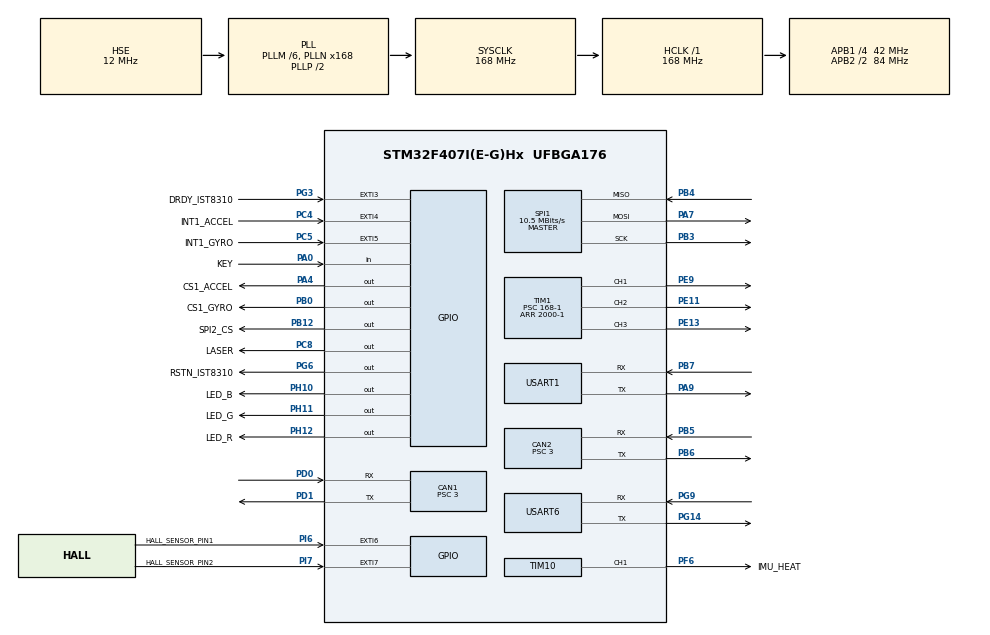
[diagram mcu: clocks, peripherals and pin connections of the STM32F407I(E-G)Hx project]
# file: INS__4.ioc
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CAN1.BS1=CAN_BS1_10TQ
CAN1.BS2=CAN_BS2_3TQ
CAN1.CalculateBaudRate=1000000
CAN1.CalculateTimeBit=1000
CAN1.CalculateTimeQuantum=71.42857142857143
CAN1.Prescaler=3
CAN2.BS1=CAN_BS1_10TQ
CAN2.BS2=CAN_BS2_3TQ
CAN2.CalculateBaudRate=1000000
CAN2.CalculateTimeBit=1000
CAN2.CalculateTimeQuantum=71.42857142857143
CAN2.Prescaler=3
Dma.Request0=SPI1_RX
Dma.Request1=SPI1_TX
Dma.Request2=USART6_RX
Dma.Request3=USART6_TX
Dma.Request4=USART1_TX
Dma.Request5=USART1_RX
Dma.SPI1_RX.0.Direction=DMA_PERIPH_TO_MEMORY
Dma.SPI1_RX.0.FIFOMode=DMA_FIFOMODE_DISABLE
Dma.SPI1_RX.0.Instance=DMA2_Stream2
Dma.SPI1_RX.0.MemDataAlignment=DMA_MDATAALIGN_BYTE
Dma.SPI1_RX.0.MemInc=DMA_MINC_ENABLE
Dma.SPI1_RX.0.Mode=DMA_NORMAL
Dma.SPI1_RX.0.PeriphDataAlignment=DMA_PDATAALIGN_BYTE
Dma.SPI1_RX.0.PeriphInc=DMA_PINC_DISABLE
Dma.SPI1_RX.0.Priority=DMA_PRIORITY_VERY_HIGH
Dma.SPI1_TX.1.Direction=DMA_MEMORY_TO_PERIPH
Dma.SPI1_TX.1.FIFOMode=DMA_FIFOMODE_DISABLE
Dma.SPI1_TX.1.Instance=DMA2_Stream3
Dma.SPI1_TX.1.MemDataAlignment=DMA_MDATAALIGN_BYTE
Dma.SPI1_TX.1.MemInc=DMA_MINC_ENABLE
Dma.SPI1_TX.1.Mode=DMA_NORMAL
Dma.SPI1_TX.1.PeriphDataAlignment=DMA_PDATAALIGN_BYTE
Dma.SPI1_TX.1.PeriphInc=DMA_PINC_DISABLE
Dma.SPI1_TX.1.Priority=DMA_PRIORITY_HIGH
Dma.USART1_RX.5.Direction=DMA_PERIPH_TO_MEMORY
Dma.USART1_RX.5.FIFOMode=DMA_FIFOMODE_DISABLE
Dma.USART1_RX.5.Instance=DMA2_Stream5
Dma.USART1_RX.5.MemDataAlignment=DMA_MDATAALIGN_BYTE
Dma.USART1_RX.5.MemInc=DMA_MINC_ENABLE
Dma.USART1_RX.5.Mode=DMA_NORMAL
Dma.USART1_RX.5.PeriphDataAlignment=DMA_PDATAALIGN_BYTE
Dma.USART1_RX.5.PeriphInc=DMA_PINC_DISABLE
Dma.USART1_RX.5.Priority=DMA_PRIORITY_LOW
Dma.USART1_TX.4.Direction=DMA_MEMORY_TO_PERIPH
Dma.USART1_TX.4.FIFOMode=DMA_FIFOMODE_DISABLE
Dma.USART1_TX.4.Instance=DMA2_Stream7
Dma.USART1_TX.4.MemDataAlignment=DMA_MDATAALIGN_BYTE
Dma.USART1_TX.4.MemInc=DMA_MINC_ENABLE
Dma.USART1_TX.4.Mode=DMA_NORMAL
Dma.USART1_TX.4.PeriphDataAlignment=DMA_PDATAALIGN_BYTE
Dma.USART1_TX.4.PeriphInc=DMA_PINC_DISABLE
Dma.USART1_TX.4.Priority=DMA_PRIORITY_LOW
Dma.USART6_RX.2.Direction=DMA_PERIPH_TO_MEMORY
Dma.USART6_RX.2.FIFOMode=DMA_FIFOMODE_DISABLE
Dma.USART6_RX.2.Instance=DMA2_Stream1
Dma.USART6_RX.2.MemDataAlignment=DMA_MDATAALIGN_BYTE
Dma.USART6_RX.2.MemInc=DMA_MINC_ENABLE
Dma.USART6_RX.2.Mode=DMA_NORMAL
Dma.USART6_RX.2.PeriphDataAlignment=DMA_PDATAALIGN_BYTE
Dma.USART6_RX.2.PeriphInc=DMA_PINC_DISABLE
Dma.USART6_RX.2.Priority=DMA_PRIORITY_LOW
Dma.USART6_TX.3.Direction=DMA_MEMORY_TO_PERIPH
Dma.USART6_TX.3.FIFOMode=DMA_FIFOMODE_DISABLE
Dma.USART6_TX.3.Instance=DMA2_Stream6
Dma.USART6_TX.3.MemDataAlignment=DMA_MDATAALIGN_BYTE
Dma.USART6_TX.3.MemInc=DMA_MINC_ENABLE
Dma.USART6_TX.3.Mode=DMA_NORMAL
Dma.USART6_TX.3.PeriphDataAlignment=DMA_PDATAALIGN_BYTE
Dma.USART6_TX.3.PeriphInc=DMA_PINC_DISABLE
Dma.USART6_TX.3.Priority=DMA_PRIORITY_LOW
FREERTOS.INCLUDE_eTaskGetState=1
FREERTOS.INCLUDE_pcTaskGetTaskName=1
FREERTOS.INCLUDE_uxTaskGetStackHighWaterMark=1
FREERTOS.INCLUDE_vTaskCleanUpResources=1
FREERTOS.INCLUDE_vTaskDelayUntil=1
FREERTOS.INCLUDE_xEventGroupSetBitFromISR=1
FREERTOS.INCLUDE_xQueueGetMutexHolder=1
FREERTOS.INCLUDE_xSemaphoreGetMutexHolder=1
FREERTOS.INCLUDE_xTaskAbortDelay=1
FREERTOS.INCLUDE_xTaskGetCurrentTaskHandle=1
FREERTOS.INCLUDE_xTaskGetHandle=1
FREERTOS.INCLUDE_xTimerPendFunctionCall=1
FREERTOS.Tasks01=INSTask,0,1024,StartINSTask,Default,NULL,Dynamic,NULL,NULL;classis_task,-3,4096,classis_,As weak,NULL,Dynamic,NULL,NULL;to_gimbal_task,-3,256,to_gimbal,As weak,NULL,Dynamic,NULL,NULL;juc_sys_task,-3,256,juc_sys,As weak,NULL,Dynamic,NULL,NULL
FREERTOS.configTOTAL_HEAP_SIZE=24576
Mcu.Family=STM32F4
Mcu.Name=STM32F407I(E-G)Hx
Mcu.Package=UFBGA176
NVIC.CAN1_RX0_IRQn=true\:5\:0\:false\:false\:true\:true\:true\:true\:true
NVIC.CAN2_RX0_IRQn=true\:5\:0\:false\:false\:true\:true\:true\:true\:true
NVIC.DMA2_Stream1_IRQn=true\:5\:0\:false\:false\:true\:true\:false\:true\:true
NVIC.DMA2_Stream2_IRQn=true\:5\:0\:true\:false\:false\:false\:false\:true\:true
NVIC.DMA2_Stream3_IRQn=true\:5\:0\:true\:false\:false\:false\:false\:true\:true
NVIC.DMA2_Stream5_IRQn=true\:5\:0\:false\:false\:true\:true\:false\:true\:true
NVIC.DMA2_Stream6_IRQn=true\:5\:0\:false\:false\:true\:true\:false\:true\:true
NVIC.DMA2_Stream7_IRQn=true\:5\:0\:false\:false\:true\:true\:false\:true\:true
NVIC.EXTI3_IRQn=true\:5\:0\:true\:false\:true\:false\:true\:true\:true
NVIC.EXTI4_IRQn=true\:5\:0\:true\:false\:true\:false\:true\:true\:true
NVIC.EXTI9_5_IRQn=true\:5\:0\:true\:false\:true\:false\:true\:true\:true
NVIC.PriorityGroup=NVIC_PRIORITYGROUP_4
NVIC.TIM2_IRQn=true\:0\:0\:false\:false\:true\:false\:false\:true\:true
NVIC.TIM8_TRG_COM_TIM14_IRQn=true\:5\:0\:false\:false\:true\:true\:true\:true\:true
NVIC.TimeBase=TIM2_IRQn
NVIC.TimeBaseIP=TIM2
NVIC.USART1_IRQn=true\:5\:0\:false\:false\:true\:true\:true\:true\:true
NVIC.USART6_IRQn=true\:5\:0\:false\:false\:true\:true\:true\:true\:true
PA0-WKUP.GPIO_Label=KEY
PA0-WKUP.GPIO_PuPd=GPIO_PULLUP
PA0-WKUP.Signal=GPIO_Input
PA13.Mode=Serial_Wire
PA13.Signal=SYS_JTMS-SWDIO
PA14.Mode=Serial_Wire
PA14.Signal=SYS_JTCK-SWCLK
PA4.GPIO_Label=CS1_ACCEL
PA4.GPIO_PuPd=GPIO_PULLUP
PA4.GPIO_Speed=GPIO_SPEED_FREQ_HIGH
PA4.PinState=GPIO_PIN_SET
PA4.Signal=GPIO_Output
PA7.GPIO_PuPd=GPIO_PULLUP
PA7.Mode=Full_Duplex_Master
PA7.Signal=SPI1_MOSI
PA9.Mode=Asynchronous
PA9.Signal=USART1_TX
PB0.GPIO_Label=CS1_GYRO
PB0.GPIO_PuPd=GPIO_PULLUP
PB0.GPIO_Speed=GPIO_SPEED_FREQ_HIGH
PB0.PinState=GPIO_PIN_SET
PB0.Signal=GPIO_Output
PB12.GPIO_Label=SPI2_CS
PB12.GPIO_PuPd=GPIO_PULLUP
PB12.GPIO_Speed=GPIO_SPEED_FREQ_MEDIUM
PB12.PinState=GPIO_PIN_SET
PB12.Signal=GPIO_Output
PB3.GPIO_PuPd=GPIO_PULLUP
PB3.Mode=Full_Duplex_Master
PB3.Signal=SPI1_SCK
PB4.GPIO_PuPd=GPIO_PULLUP
PB4.Mode=Full_Duplex_Master
PB4.Signal=SPI1_MISO
PB5.Mode=CAN_Activate
PB5.Signal=CAN2_RX
PB6.Mode=CAN_Activate
PB6.Signal=CAN2_TX
PB7.Mode=Asynchronous
PB7.Signal=USART1_RX
PC10.Signal=USART3_TX
PC11.Signal=USART3_RX
PC4.GPIO_Label=INT1_ACCEL
PC4.GPIO_ModeDefaultEXTI=GPIO_MODE_IT_FALLING
PC4.GPIO_PuPd=GPIO_PULLUP
PC4.Signal=GPXTI4
PC5.GPIO_Label=INT1_GYRO
PC5.GPIO_ModeDefaultEXTI=GPIO_MODE_IT_FALLING
PC5.GPIO_PuPd=GPIO_PULLUP
PC5.Signal=GPXTI5
PC8.GPIO_Label=LASER
PC8.Signal=GPIO_Output
PD0.Mode=CAN_Activate
PD0.Signal=CAN1_RX
PD1.Mode=CAN_Activate
PD1.Signal=CAN1_TX
PE11.Signal=S_TIM1_CH2
PE13.Signal=S_TIM1_CH3
PE9.Signal=S_TIM1_CH1
PF6.GPIO_Label=IMU_HEAT
PF6.GPIO_PuPd=GPIO_PULLUP
PF6.GPIO_Speed=GPIO_SPEED_FREQ_HIGH
PF6.Signal=S_TIM10_CH1
PG14.Mode=Asynchronous
PG14.Signal=USART6_TX
PG3.GPIO_Label=DRDY_IST8310
PG3.GPIO_ModeDefaultEXTI=GPIO_MODE_IT_FALLING
PG3.GPIO_PuPd=GPIO_PULLUP
PG3.Signal=GPXTI3
PG6.GPIO_Label=RSTN_IST8310
PG6.GPIO_PuPd=GPIO_PULLUP
PG6.GPIO_Speed=GPIO_SPEED_FREQ_MEDIUM
PG6.PinState=GPIO_PIN_SET
PG6.Signal=GPIO_Output
PG9.Mode=Asynchronous
PG9.Signal=USART6_RX
PH0-OSC_IN.Mode=HSE-External-Oscillator
PH0-OSC_IN.Signal=RCC_OSC_IN
PH1-OSC_OUT.Mode=HSE-External-Oscillator
PH1-OSC_OUT.Signal=RCC_OSC_OUT
PH10.GPIO_Label=LED_B
PH10.Signal=GPIO_Output
PH11.GPIO_Label=LED_G
PH11.Signal=GPIO_Output
PH12.GPIO_Label=LED_R
PH12.Signal=GPIO_Output
PI6.GPIO_Label=HALL_SENSOR_PIN1
PI6.Signal=GPXTI6
PI7.GPIO_Label=HALL_SENSOR_PIN2
PI7.Signal=GPXTI7
ProjectManager.HeapSize=0x2000
ProjectManager.StackSize=0x2000
ProjectManager.TargetToolchain=MDK-ARM V5.32
RCC.48MHZClocksFreq_Value=48000000
RCC.AHBFreq_Value=168000000
RCC.APB1CLKDivider=RCC_HCLK_DIV4
RCC.APB1Freq_Value=42000000
RCC.APB1TimFreq_Value=84000000
RCC.APB2CLKDivider=RCC_HCLK_DIV2
RCC.APB2Freq_Value=84000000
RCC.APB2TimFreq_Value=168000000
RCC.CortexFreq_Value=168000000
RCC.HCLKFreq_Value=168000000
RCC.HSE_VALUE=12000000
RCC.HSI_VALUE=16000000
RCC.LSE_VALUE=32768
RCC.PLLM=6
RCC.PLLN=168
RCC.PLLQ=7
RCC.PLLSourceVirtual=RCC_PLLSOURCE_HSE
RCC.RCC_RTC_Clock_SourceVirtual=RCC_RTCCLKSOURCE_HSE_DIV30
RCC.RCC_RTC_Clock_Source_FROM_HSE=RCC_RTCCLKSOURCE_HSE_DIV30
RCC.SYSCLKFreq_VALUE=168000000
RCC.SYSCLKSource=RCC_SYSCLKSOURCE_PLLCLK
RCC.VCOOutputFreq_Value=336000000
SH.S_TIM10_CH1.0=TIM10_CH1,PWM Generation1 CH1
SH.S_TIM1_CH1.0=TIM1_CH1,PWM Generation1 CH1
SH.S_TIM1_CH2.0=TIM1_CH2,PWM Generation2 CH2
SH.S_TIM1_CH3.0=TIM1_CH3,PWM Generation3 CH3
SPI1.BaudRatePrescaler=SPI_BAUDRATEPRESCALER_8
SPI1.CLKPhase=SPI_PHASE_2EDGE
SPI1.CLKPolarity=SPI_POLARITY_HIGH
SPI1.CalculateBaudRate=10.5 MBits/s
SPI1.Direction=SPI_DIRECTION_2LINES
SPI1.Mode=SPI_MODE_MASTER
SPI1.VirtualType=VM_MASTER
TIM1.Channel-PWM\ Generation1\ CH1=TIM_CHANNEL_1
TIM1.Channel-PWM\ Generation2\ CH2=TIM_CHANNEL_2
TIM1.Channel-PWM\ Generation3\ CH3=TIM_CHANNEL_3
TIM1.Period=2000-1
TIM1.Prescaler=168-1
TIM10.Channel=TIM_CHANNEL_1
TIM10.Period=2000-1
TIM10.Prescaler=84-1
TIM14.Period=2000-1
TIM14.Prescaler=84-1
USART1.VirtualMode=VM_ASYNC
USART6.VirtualMode=VM_ASYNC
VP_CRC_VS_CRC.Mode=CRC_Activate
VP_FREERTOS_VS_CMSIS_V1.Mode=CMSIS_V1
VP_SYS_VS_tim2.Mode=TIM2
VP_TIM10_VS_ClockSourceINT.Mode=Enable_Timer
VP_TIM14_VS_ClockSourceINT.Mode=Enable_Timer
board=custom

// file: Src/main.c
/* USER CODE BEGIN Header */
/**
 ******************************************************************************
 * @file           : main.c
 * @brief          : Main program body
 ******************************************************************************
 * @attention
 *
 * <h2><center>&copy; Copyright (c) 2021 STMicroelectronics.
 * All rights reserved.</center></h2>
 *
 * This software component is licensed by ST under Ultimate Liberty license
 * SLA0044, the "License"; You may not use this file except in compliance with
 * the License. You may obtain a copy of the License at:
 *                             www.st.com/SLA0044
 *
 ******************************************************************************
 */
/* USER CODE END Header */
#include "main.h"
#include "cmsis_os.h"
#include "can.h"
#include "crc.h"
#include "dma.h"
#include "spi.h"
#include "tim.h"
#include "usart.h"
#include "gpio.h"

/* USER CODE BEGIN Includes */
#include "BMI088driver.h"
#include "bsp_dwt.h"
#include "arm_math.h"
#include "Receive.h"
#include "ins_task.h"
/* USER CODE END Includes */

void SystemClock_Config(void);
void MX_FREERTOS_Init(void);

int main(void)
{

  /* MCU Configuration--------------------------------------------------------*/

  /* Reset of all peripherals, Initializes the Flash interface and the Systick. */
  HAL_Init();

  /* Configure the system clock */
  SystemClock_Config();

  /* Initialize all configured peripherals */
  MX_GPIO_Init();
  MX_DMA_Init();
  MX_SPI1_Init();
  MX_TIM10_Init();
  MX_CAN1_Init();
  MX_CAN2_Init();
  MX_TIM1_Init();
  MX_TIM14_Init();
  MX_USART1_UART_Init();
  MX_USART6_UART_Init();
  MX_CRC_Init();
  /* USER CODE BEGIN 2 */
  DWT_Init(168);
  while (BMI088_init(&hspi1, 1) != BMI088_NO_ERROR);
  HAL_GPIO_WritePin(GPIOH,GPIO_PIN_10,GPIO_PIN_SET);
  HAL_GPIO_WritePin(GPIOH,GPIO_PIN_11,GPIO_PIN_SET);
  HAL_GPIO_WritePin(GPIOH,GPIO_PIN_12,GPIO_PIN_SET);
  /* USER CODE END 2 */

  /* Call init function for freertos objects (in freertos.c) */
  MX_FREERTOS_Init();

  /* Start scheduler */
  osKernelStart();

  /* We should never get here as control is now taken by the scheduler */
  /* Infinite loop */
    while (1)
    {

    }
}

void SystemClock_Config(void)
{
  RCC_OscInitTypeDef RCC_OscInitStruct = {0};
  RCC_ClkInitTypeDef RCC_ClkInitStruct = {0};

  /** Configure the main internal regulator output voltage
  */
  __HAL_RCC_PWR_CLK_ENABLE();
  __HAL_PWR_VOLTAGESCALING_CONFIG(PWR_REGULATOR_VOLTAGE_SCALE1);

  /** Initializes the RCC Oscillators according to the specified parameters
  * in the RCC_OscInitTypeDef structure.
  */
  RCC_OscInitStruct.OscillatorType = RCC_OSCILLATORTYPE_HSE;
  RCC_OscInitStruct.HSEState = RCC_HSE_ON;
  RCC_OscInitStruct.PLL.PLLState = RCC_PLL_ON;
  RCC_OscInitStruct.PLL.PLLSource = RCC_PLLSOURCE_HSE;
  RCC_OscInitStruct.PLL.PLLM = 6;
  RCC_OscInitStruct.PLL.PLLN = 168;
  RCC_OscInitStruct.PLL.PLLP = RCC_PLLP_DIV2;
  RCC_OscInitStruct.PLL.PLLQ = 7;
  if (HAL_RCC_OscConfig(&RCC_OscInitStruct) != HAL_OK)
  {
    Error_Handler();
  }

  /** Initializes the CPU, AHB and APB buses clocks
  */
  RCC_ClkInitStruct.ClockType = RCC_CLOCKTYPE_HCLK|RCC_CLOCKTYPE_SYSCLK
                              |RCC_CLOCKTYPE_PCLK1|RCC_CLOCKTYPE_PCLK2;
  RCC_ClkInitStruct.SYSCLKSource = RCC_SYSCLKSOURCE_PLLCLK;
  RCC_ClkInitStruct.AHBCLKDivider = RCC_SYSCLK_DIV1;
  RCC_ClkInitStruct.APB1CLKDivider = RCC_HCLK_DIV4;
  RCC_ClkInitStruct.APB2CLKDivider = RCC_HCLK_DIV2;

  if (HAL_RCC_ClockConfig(&RCC_ClkInitStruct, FLASH_LATENCY_5) != HAL_OK)
  {
    Error_Handler();
  }
}

void HAL_TIM_PeriodElapsedCallback(TIM_HandleTypeDef *htim)
{
  if (htim->Instance == TIM2) {
    HAL_IncTick();
  }
}

void Error_Handler(void)
{
}

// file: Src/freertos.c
/* USER CODE BEGIN Header */
/**
 ******************************************************************************
 * File Name          : freertos.c
 * Description        : Code for freertos applications
 ******************************************************************************
 * @attention
 *
 * <h2><center>&copy; Copyright (c) 2021 STMicroelectronics.
 * All rights reserved.</center></h2>
 *
 * This software component is licensed by ST under Ultimate Liberty license
 * SLA0044, the "License"; You may not use this file except in compliance with
 * the License. You may obtain a copy of the License at:
 *                             www.st.com/SLA0044
 *
 ******************************************************************************
 */
/* USER CODE END Header */

#include "FreeRTOS.h"
#include "task.h"
#include "main.h"
#include "cmsis_os.h"

/* USER CODE BEGIN Includes */
#include "QuaternionEKF.h"
#include "ins_task.h"
#include "RUI_ALLUI.h"
#include "RUI_ANONYMITY.h"
#include "Receive.h"
/* USER CODE END Includes */

osThreadId INSTaskHandle;
osThreadId classis_taskHandle;
osThreadId to_gimbal_taskHandle;
osThreadId juc_sys_taskHandle;

void StartINSTask(void const * argument);
void classis_(void const * argument);
void to_gimbal(void const * argument);
void juc_sys(void const * argument);

void MX_FREERTOS_Init(void); /* (MISRA C 2004 rule 8.1) */

/* GetIdleTaskMemory prototype (linked to static allocation support) */
void vApplicationGetIdleTaskMemory( StaticTask_t **ppxIdleTaskTCBBuffer, StackType_t **ppxIdleTaskStackBuffer, uint32_t *pulIdleTaskStackSize );

/* GetTimerTaskMemory prototype (linked to static allocation support) */
void vApplicationGetTimerTaskMemory( StaticTask_t **ppxTimerTaskTCBBuffer, StackType_t **ppxTimerTaskStackBuffer, uint32_t *pulTimerTaskStackSize );

/* USER CODE BEGIN GET_IDLE_TASK_MEMORY */
static StaticTask_t xIdleTaskTCBBuffer;
static StackType_t xIdleStack[configMINIMAL_STACK_SIZE];

void vApplicationGetIdleTaskMemory(StaticTask_t **ppxIdleTaskTCBBuffer, StackType_t **ppxIdleTaskStackBuffer, uint32_t *pulIdleTaskStackSize)
{
    *ppxIdleTaskTCBBuffer = &xIdleTaskTCBBuffer;
    *ppxIdleTaskStackBuffer = &xIdleStack[0];
    *pulIdleTaskStackSize = configMINIMAL_STACK_SIZE;
    /* place for user code */
}
/* USER CODE END GET_IDLE_TASK_MEMORY */

/* USER CODE BEGIN GET_TIMER_TASK_MEMORY */
static StaticTask_t xTimerTaskTCBBuffer;
static StackType_t xTimerStack[configTIMER_TASK_STACK_DEPTH];

void vApplicationGetTimerTaskMemory(StaticTask_t **ppxTimerTaskTCBBuffer, StackType_t **ppxTimerTaskStackBuffer, uint32_t *pulTimerTaskStackSize)
{
    *ppxTimerTaskTCBBuffer = &xTimerTaskTCBBuffer;
    *ppxTimerTaskStackBuffer = &xTimerStack[0];
    *pulTimerTaskStackSize = configTIMER_TASK_STACK_DEPTH;
    /* place for user code */
}
/* USER CODE END GET_TIMER_TASK_MEMORY */

void MX_FREERTOS_Init(void) {

  /* Create the thread(s) */
  /* definition and creation of INSTask */
  osThreadDef(INSTask, StartINSTask, osPriorityNormal, 0, 1024);
  INSTaskHandle = osThreadCreate(osThread(INSTask), NULL);

  /* definition and creation of classis_task */
  osThreadDef(classis_task, classis_, osPriorityIdle, 0, 4096);
  classis_taskHandle = osThreadCreate(osThread(classis_task), NULL);

  /* definition and creation of to_gimbal_task */
  osThreadDef(to_gimbal_task, to_gimbal, osPriorityIdle, 0, 256);
  to_gimbal_taskHandle = osThreadCreate(osThread(to_gimbal_task), NULL);

  /* definition and creation of juc_sys_task */
  osThreadDef(juc_sys_task, juc_sys, osPriorityIdle, 0, 256);
  juc_sys_taskHandle = osThreadCreate(osThread(juc_sys_task), NULL);

}

void StartINSTask(void const * argument)
{
  /* USER CODE BEGIN StartINSTask */
    INS_Init();
    /* Infinite loop */
    for (;;)
    {
        INS_Task();
        osDelay(1);
    }
  /* USER CODE END StartINSTask */
}

__weak void classis_(void const * argument)
{
  /* USER CODE BEGIN classis_ */
	Matrixs_Init();
  /* Infinite loop */
  for(;;)
  {
	  Matrix_manipulation();

    osDelay(1);
  }
  /* USER CODE END classis_ */
}

__weak void to_gimbal(void const * argument)
{
  /* USER CODE BEGIN to_gimbal */
  /* Infinite loop */
  for(;;)
  {
//	Usart1_TX_staticUI();
//	RUI_F_AN_REVOLVE();
    osDelay(1);
  }
  /* USER CODE END to_gimbal */
}

__weak void juc_sys(void const * argument)
{
  for(;;)
  {
    osDelay(1);
  }
}
